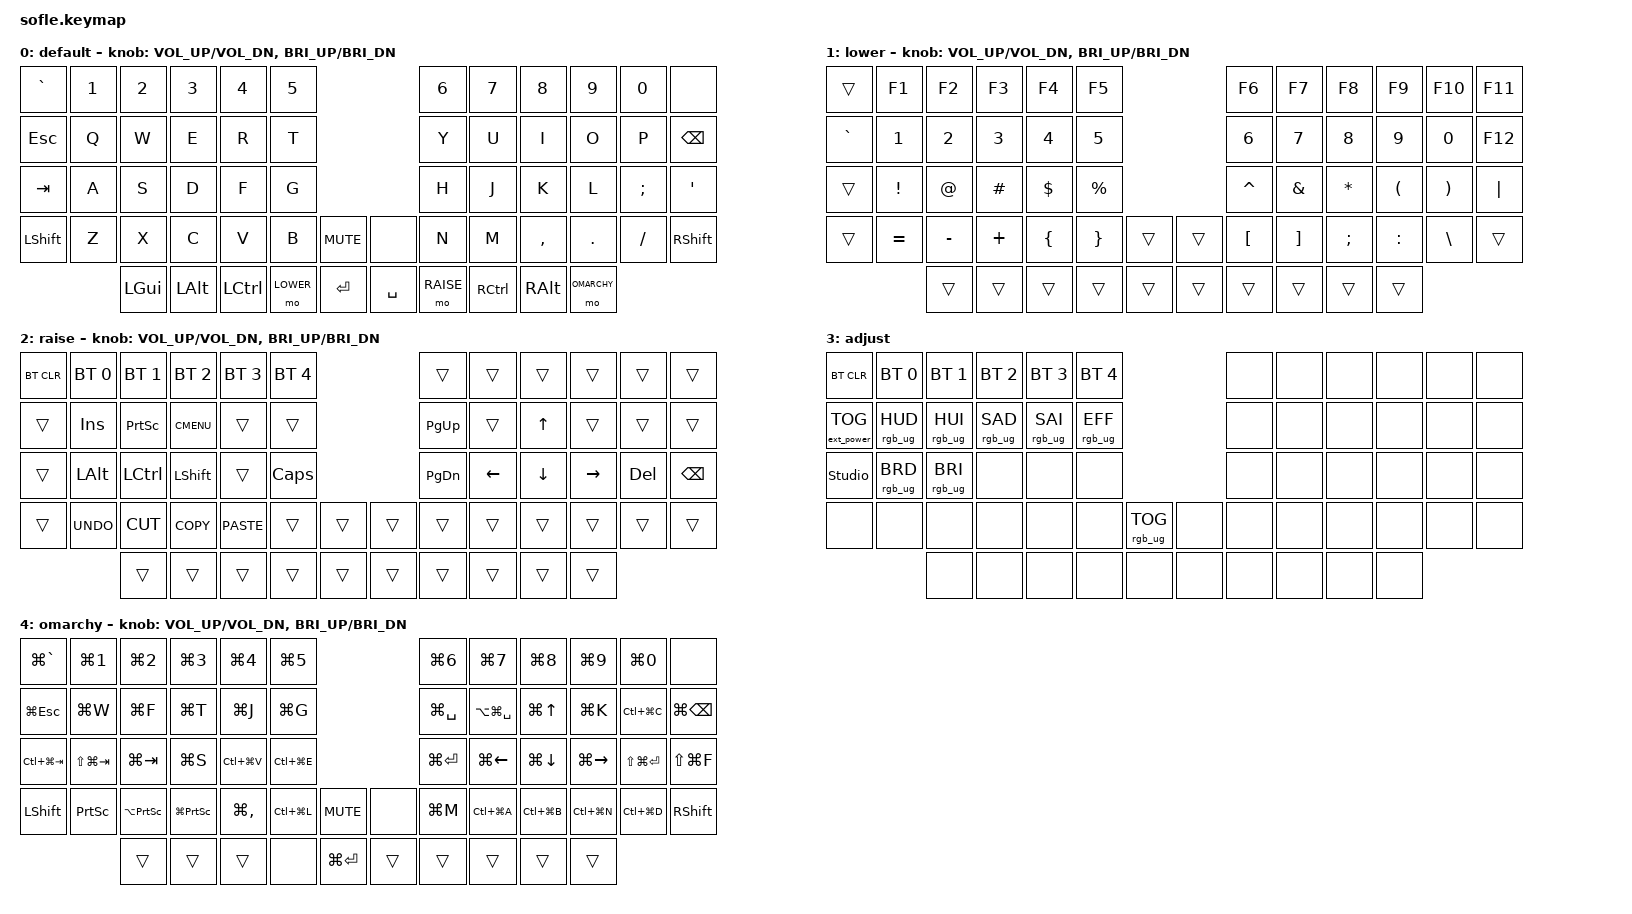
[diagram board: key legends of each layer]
/*
 * Copyright (c) 2020 The ZMK Contributors
 *
 * SPDX-License-Identifier: MIT
 */

#include <behaviors.dtsi>
#include <dt-bindings/zmk/keys.h>
#include <dt-bindings/zmk/bt.h>
#include <dt-bindings/zmk/rgb.h>
#include <dt-bindings/zmk/ext_power.h>

#define BASE 0
#define LOWER 1
#define RAISE 2
#define ADJUST 3
#define OMARCHY 4

/ {

   // Activate ADJUST layer by pressing raise and lower
    conditional_layers {
        compatible = "zmk,conditional-layers";
        adjust_layer {
            if-layers = <LOWER RAISE>;
            then-layer = <ADJUST>;
        };
    };

    keymap {
        compatible = "zmk,keymap";

        default_layer {
            display-name = "default";
// ------------------------------------------------------------------------------------------------------------
// |   `   |  1  |  2  |  3   |  4   |  5   |                   |  6   |  7    |  8    |  9   |   0   |       |
// |  ESC  |  Q  |  W  |  E   |  R   |  T   |                   |  Y   |  U    |  I    |  O   |   P   | BKSPC |
// |  TAB  |  A  |  S  |  D   |  F   |  G   |                   |  H   |  J    |  K    |  L   |   ;   |   '   |
// | SHIFT |  Z  |  X  |  C   |  V   |  B   |  MUTE  |  |       |  N   |  M    |  ,    |  .   |   /   | SHIFT |
//               | GUI | ALT  | CTRL | LOWER|  ENTER |  | SPACE | RAISE| CTRL  | ALT   |OMARCHY|
            bindings = <
&kp GRAVE &kp N1 &kp N2   &kp N3   &kp N4    &kp N5                           &kp N6 &kp N7    &kp N8    &kp N9   &kp N0   &none
&kp ESC   &kp Q  &kp W    &kp E    &kp R     &kp T                            &kp Y  &kp U     &kp I     &kp O    &kp P    &kp BSPC
&kp TAB   &kp A  &kp S    &kp D    &kp F     &kp G                            &kp H  &kp J     &kp K     &kp L    &kp SEMI &kp SQT
&kp LSHFT &kp Z  &kp X    &kp C    &kp V     &kp B      &kp C_MUTE &none      &kp N  &kp M     &kp COMMA &kp DOT  &kp FSLH &kp RSHFT
                 &kp LGUI &kp LALT &kp LCTRL &mo LOWER  &kp RET    &kp SPACE  &mo RAISE  &kp RCTRL &kp RALT  &mo OMARCHY
            >;

            sensor-bindings = <&inc_dec_kp C_VOL_UP C_VOL_DN &inc_dec_kp C_BRI_UP C_BRI_DN>;
        };

        lower_layer {
            display-name = "lower";
// TODO: Some binds are waiting for shifted keycode support.
// ------------------------------------------------------------------------------------------------------------
// |       |  F1 |  F2 |  F3  |  F4  |  F5  |                   |  F6  |  F7   |  F8   |  F9  |  F10  |  F11  |
// |   `   |  1  |  2  |  3   |  4   |  5   |                   |  6   |  7    |  8    |  9   |   0   |  F12  |
// |       |  !  |  @  |  #   |  $   |  %   |                   |  ^   |  &    |  *    |  (   |   )   |   |   |
// |       |  =  |  -  |  +   |  {   |  }   |        |  |       |  [   |  ]    |  ;    |  :   |   \   |       |
//               |     |      |      |      |        |  |       |      |       |       |      |
            bindings = <
&trans    &kp F1    &kp F2    &kp F3      &kp F4    &kp F5                    &kp F6    &kp F7   &kp F8    &kp F9    &kp F10   &kp F11
&kp GRAVE &kp N1    &kp N2    &kp N3      &kp N4    &kp N5                    &kp N6    &kp N7   &kp N8    &kp N9    &kp N0    &kp F12
&trans    &kp EXCL  &kp AT    &kp HASH    &kp DLLR  &kp PRCNT                 &kp CARET &kp AMPS &kp ASTRK &kp LPAR  &kp RPAR  &kp PIPE
&trans    &kp EQUAL &kp MINUS &kp PLUS &kp LBRC  &kp RBRC   &trans &trans  &kp LBKT  &kp RBKT &kp SEMI  &kp COLON &kp BSLH  &trans
                    &trans    &trans      &trans    &trans     &trans &trans  &trans    &trans   &trans    &trans
            >;

            sensor-bindings = <&inc_dec_kp C_VOL_UP C_VOL_DN &inc_dec_kp C_BRI_UP C_BRI_DN>;
        };

        raise_layer {
            display-name = "raise";
// ------------------------------------------------------------------------------------------------------------
// | BTCLR | BT1  | BT2  |  BT3  |  BT4  |  BT5 |                |      |      |       |      |       |       |
// |       | INS  | PSCR | GUI   |       |      |                | PGUP |      |   ^   |      |       |       |
// |       | ALT  | CTRL | SHIFT |       | CAPS |                | PGDN |   <- |   v   |  ->  |  DEL  | BKSPC |
// |       | UNDO | CUT  | COPY  | PASTE |      |      |  |      |      |      |       |      |       |       |
//                |      |       |       |      |      |  |      |      |      |       |      |
            bindings = <
&bt BT_CLR &bt BT_SEL 0 &bt BT_SEL 1 &bt BT_SEL 2 &bt BT_SEL 3 &bt BT_SEL 4                  &trans    &trans    &trans   &trans    &trans  &trans
&trans     &kp INS      &kp PSCRN    &kp K_CMENU  &trans       &trans                        &kp PG_UP &trans    &kp UP   &trans    &trans  &trans
&trans     &kp LALT     &kp LCTRL    &kp LSHFT    &trans       &kp CLCK                      &kp PG_DN &kp LEFT  &kp DOWN &kp RIGHT &kp DEL &kp BSPC
&trans     &kp K_UNDO   &kp K_CUT    &kp K_COPY   &kp K_PASTE  &trans        &trans  &trans  &trans    &trans    &trans   &trans    &trans  &trans
                        &trans       &trans       &trans       &trans        &trans  &trans  &trans    &trans    &trans   &trans
            >;

            sensor-bindings = <&inc_dec_kp C_VOL_UP C_VOL_DN &inc_dec_kp C_BRI_UP C_BRI_DN>;
        };

        adjust_layer {
// ----------------------------------------------------------------------------------------------------------------------------
// | BTCLR  |  BT1    |  BT2    |   BT3   |   BT4   |   BT5   |                  |      |      |       |      |       |       |
// | EXTPWR | RGB_HUD | RGB_HUI | RGB_SAD | RGB_SAI | RGB_EFF |                  |      |      |       |      |       |       |
// | STUDIO | RGB_BRD | RGB_BRI |         |         |         |                  |      |      |       |      |       |       |
// |        |         |         |         |         |         | RGB_TOG | |      |      |      |       |      |       |       |
//                    |         |         |         |         |         | |      |      |      |       |      |
            display-name = "adjust";
            bindings = <
&bt BT_CLR        &bt BT_SEL 0    &bt BT_SEL 1    &bt BT_SEL 2    &bt BT_SEL 3    &bt BT_SEL 4                            &none &none &none &none &none &none
&ext_power EP_TOG &rgb_ug RGB_HUD &rgb_ug RGB_HUI &rgb_ug RGB_SAD &rgb_ug RGB_SAI &rgb_ug RGB_EFF                         &none &none &none &none &none &none
&studio_unlock    &rgb_ug RGB_BRD &rgb_ug RGB_BRI &none           &none           &none                                   &none &none &none &none &none &none
&none             &none           &none           &none           &none           &none            &rgb_ug RGB_TOG &none  &none &none &none &none &none &none
                                  &none           &none           &none           &none            &none           &none  &none &none &none &none
            >;
        };

        omarchy_layer {
            display-name = "omarchy";
// Segure o polegar direito mais externo. Todos os atalhos usam SUPER.
// Segurar SHIFT junto: numero = mover janela p/ workspace, setas = trocar janela de lugar.
// ---------------------------------------------------------------------------------------------------------------------
// | QUAKE  |  WS1  |  WS2   |  WS3   |  WS4    |  WS5   |                    |  WS6   |  WS7   |  WS8   |  WS9   |  WS10  |         |
// | SYSMNU | CLOSE | FULLSC | FLOAT  | SPLIT   | GROUP  |                    | MENU   | APPS   | FOC UP | KEYS   | CAPTURE| TRANSP  |
// | WS ANT | WS <  | WS >   | SCRATCH| CLIPBRD | EMOJI  |                    | TERM   | FOC <  | FOC DN | FOC >  | BROWSER| FILES   |
// | SHIFT  | PRINT | RECORD | COLOR  | NOTIF   | LOCK   | MUTE |  |          | MINIMIZ| AUDIO  | BLUETH | NETWORK| DISPLAY| SHIFT   |
//                  |        |        |         |        | TERM |  |          |        |        |        | (hold) |
            bindings = <
&kp LG(GRAVE)    &kp LG(N1)    &kp LG(N2)     &kp LG(N3)     &kp LG(N4)     &kp LG(N5)                                &kp LG(N6)     &kp LG(N7)      &kp LG(N8)       &kp LG(N9)      &kp LG(N0)       &none
&kp LG(ESC)      &kp LG(W)     &kp LG(F)      &kp LG(T)      &kp LG(J)      &kp LG(G)                                 &kp LG(SPACE)  &kp LA(LG(SPACE)) &kp LG(UP)     &kp LG(K)       &kp LC(LG(C))    &kp LG(BSPC)
&kp LC(LG(TAB))  &kp LS(LG(TAB)) &kp LG(TAB)  &kp LG(S)      &kp LC(LG(V))  &kp LC(LG(E))                             &kp LG(RET)    &kp LG(LEFT)    &kp LG(DOWN)     &kp LG(RIGHT)   &kp LS(LG(RET))  &kp LS(LG(F))
&kp LSHFT        &kp PSCRN     &kp LA(PSCRN)  &kp LG(PSCRN)  &kp LG(COMMA)  &kp LC(LG(L))  &kp C_MUTE   &none        &kp LG(M)      &kp LC(LG(A))   &kp LC(LG(B))    &kp LC(LG(N))   &kp LC(LG(D))    &kp RSHFT
                               &trans         &trans         &trans         &none          &kp LG(RET)  &trans       &trans         &trans          &trans           &trans
            >;

            sensor-bindings = <&inc_dec_kp C_VOL_UP C_VOL_DN &inc_dec_kp C_BRI_UP C_BRI_DN>;
        };

    };
};
